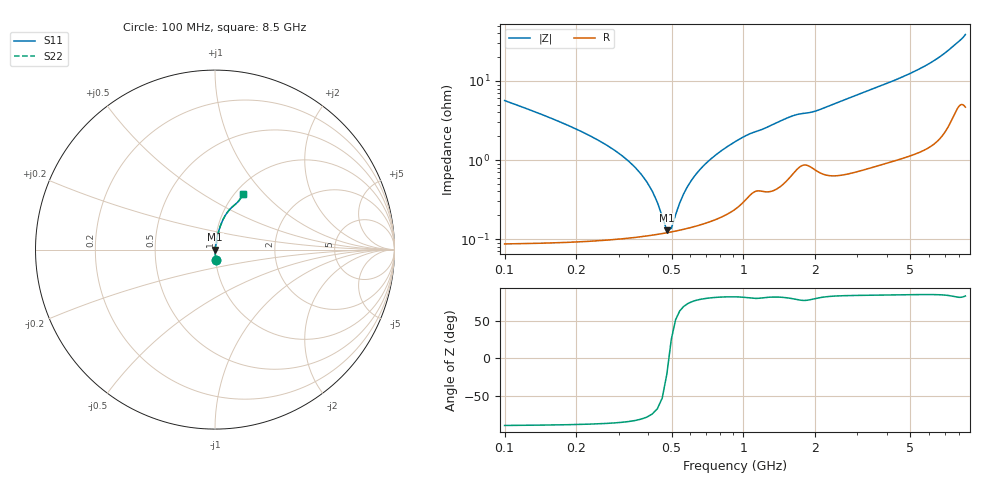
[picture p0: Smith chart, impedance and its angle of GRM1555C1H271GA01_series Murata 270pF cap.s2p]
!Murata Part Number: GRM1555C1H271GA01
!These Parameters are Measured in Series Mode Connection
!  o--ll--o
!Port1  Port2
!  o------o
!Operation Temp=25[degC], DC Bias Voltage=0[V]
!Freq. Start=100[MHz] Stop=8.5[GHz], 401[Steps]
!Data Generated on Jan 10, 2017
# Hz S RI R 50
!Freq.(Hz) S11(Real) S11(Imag) S21(Real) S21(Imag) S12(Real) S12(Imag) S22(Real) S22(Imag)
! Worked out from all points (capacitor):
!   401 points, 100 MHz to 8.5 GHz, reference 50 ohm
!   read as one part in series: C = 270 pF near 142 MHz
!   lowest |Z| = 128 mohm at 478 MHz (marker M1)
!   series resonance near 487.1 MHz, so ESL is about 400 pH
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1e8  0.00404 -0.0562  0.996 0.0562  0.996 0.0562  0.00404 -0.0562
1.42e8  0.00232 -0.0379  0.9977 0.0379  0.9977 0.0379  0.00232 -0.0379
3.1e8  0.00113 -0.0113  0.9989 0.0113  0.9989 0.0113  0.00113 -0.0113
3.52e8  0.00111 -0.00798  0.9989 0.00798  0.9989 0.00798  0.00111 -0.00798
3.94e8  0.00112 -0.00516  0.9989 0.00516  0.9989 0.00516  0.00112 -0.00516
4.57e8  0.00117 -0.00154  0.9988 0.00154  0.9988 0.00154  0.00117 -0.00154
4.78e8  0.0012 -0.000452  0.9988 0.000452  0.9988 0.000452  0.0012 -0.000452
4.99e8  0.00123 0.000588  0.9988 -0.000588  0.9988 -0.000588  0.00123 0.000588
5.2e8  0.00126 0.00159  0.9987 -0.00159  0.9987 -0.00159  0.00126 0.00159
5.83e8  0.00138 0.00438  0.9986 -0.00438  0.9986 -0.00438  0.00138 0.00438
6.25e8  0.00148 0.00611  0.9985 -0.00611  0.9985 -0.00611  0.00148 0.00611
6.88e8  0.00164 0.00856  0.9984 -0.00856  0.9984 -0.00856  0.00164 0.00856
7.93e8  0.002 0.0124  0.998 -0.0124  0.998 -0.0124  0.002 0.0124
9.19e8  0.00263 0.0167  0.9974 -0.0167  0.9974 -0.0167  0.00263 0.0167
1.045e9  0.00378 0.0205  0.9962 -0.0205  0.9962 -0.0205  0.00378 0.0205
1.507e9  0.00638 0.0327  0.9936 -0.0327  0.9936 -0.0327  0.00638 0.0327
1.675e9  0.00886 0.0362  0.9911 -0.0362  0.9911 -0.0362  0.00886 0.0362
2.914e9  0.0109 0.063  0.9891 -0.063  0.9891 -0.063  0.0109 0.063
4.3e9  0.0196 0.0987  0.9804 -0.0987  0.9804 -0.0987  0.0196 0.0987
5.707e9  0.0348 0.1447  0.9652 -0.1447  0.9652 -0.1447  0.0348 0.1447
7.114e9  0.0728 0.2125  0.9272 -0.2125  0.9272 -0.2125  0.0728 0.2125
8.5e9  0.1579 0.309  0.8421 -0.309  0.8421 -0.309  0.1579 0.309
